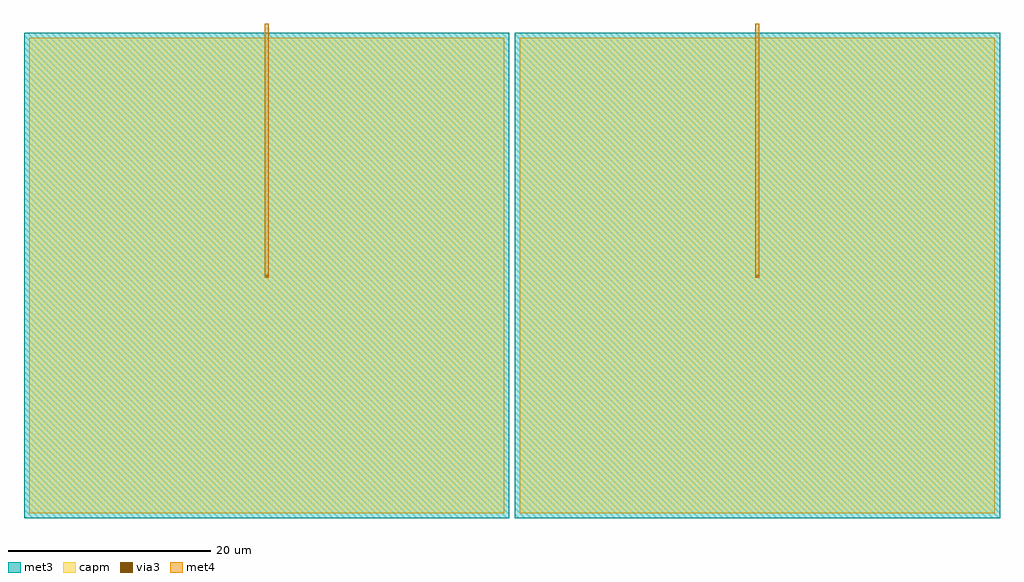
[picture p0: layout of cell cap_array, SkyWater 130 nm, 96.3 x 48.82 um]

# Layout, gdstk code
import gdstk
lib = gdstk.Library(unit=1e-6, precision=1e-09)
def R(c, l, rs):  # rectangles x0, y0, x1, y1
    for r in rs: c.add(gdstk.rectangle(r[:2], r[2:], *l))
met3 = (70, 20)
via3 = (70, 44)
met4 = (71, 20)
capm = (89, 44)

cap_array = lib.new_cell('cap_array')
R(cap_array, met3, [(0,0,47.9,47.9), (48.4,0,96.3,47.9)])
R(cap_array, via3, [(23.84,23.84,24.06,24.06), (72.24,23.84,72.46,24.06)])
R(cap_array, met4, [(23.74,23.74,24.16,24.16), (72.14,23.74,72.56,24.16), (23.74,24.16,24.16,48.4), (72.14,24.16,72.56,48.4), (23.74,48.4,24.16,48.82), (72.14,48.4,72.56,48.82)])
R(cap_array, capm, [(0.5,0.5,47.4,47.4), (48.9,0.5,95.8,47.4)])

lib.write_gds('cap_array.gds')
